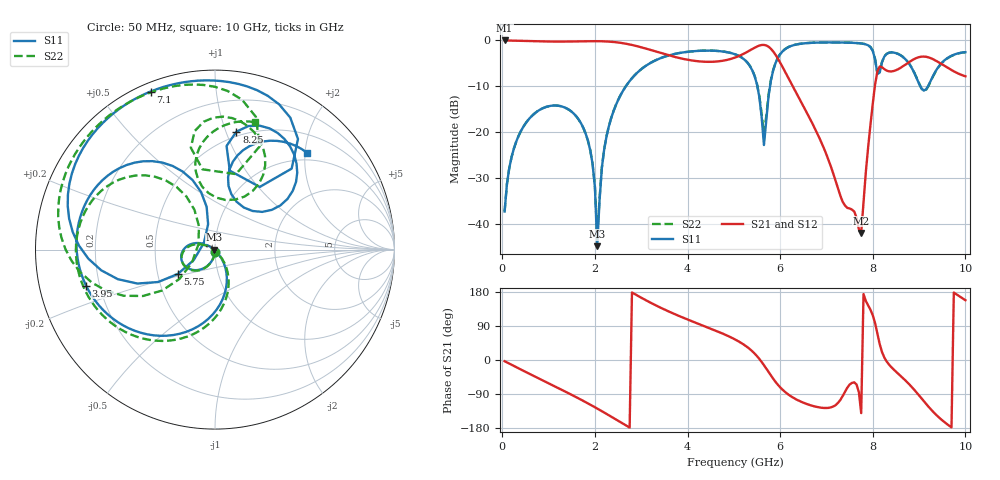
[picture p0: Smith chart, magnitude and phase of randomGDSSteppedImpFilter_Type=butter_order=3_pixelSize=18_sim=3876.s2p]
! freq	dB(S11)	phase(S11)	dB(S12)	phase(S12)
!  dB(S21)	phase(S21)	dB(S22)	phase(S22)
!S-par simulation data
#  GHz  S  DB  R 50
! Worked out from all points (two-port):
!   200 points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, 50 MHz to 10 GHz, reference 50 ohm
!   highest |S21| = -0.01 dB at 50 MHz (marker M1); lowest = -42.0 dB at 7.75 GHz (marker M2)
!   |S21| within 3 dB of the highest: start of sweep to 3.511 GHz; 5.194 GHz to 5.892 GHz (697.8 MHz wide, 12.6 % of centre)
!   lowest |S11| = -44.8 dB at 2.05 GHz (marker M3), VSWR 1.01, Z = 49.4 - j0.116 ohm
!   |S11| at or under -10 dB: start of sweep to 2.668 GHz; 5.507 GHz to 5.782 GHz (274.3 MHz wide, 4.86 % of centre); 9.028 GHz to 9.192 GHz (164 MHz wide, 1.8 % of centre)
!   |S22| runs from -42.7 to -0.4 dB; largest |S21 - S12| = 0
!   S11 on the Smith chart (normalised r, x): 50 MHz: 1.00, -0.03; 3.95 GHz: 0.15, -0.13; 5.75 GHz: 0.64, -0.18; 7.1 GHz: 0.04, +0.67; 8.25 GHz: 0.46, +1.09; 10 GHz: 0.85, +2.05
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0.05  -37.30 -92.8  -0.01 -3.2  -0.01 -3.2  -37.30 -92.7
0.6  -16.86 -128.2  -0.14 -37.3  -0.14 -37.3  -16.86 -127.2
1.75  -19.06 160.9  -0.19 -108.0  -0.19 -108.0  -19.07 164.7
1.95  -26.96 149.7  -0.16 -121.3  -0.16 -121.3  -26.96 155.6
2.05  -44.85 -168.1  -0.16 -128.1  -0.16 -128.1  -42.66 -153.5
2.15  -27.78 -52.0  -0.18 -135.1  -0.18 -135.1  -27.67 -51.8
2.35  -16.98 -63.5  -0.29 -149.3  -0.29 -149.3  -16.95 -60.6
3.4  -3.93 -134.6  -2.68 139.1  -2.68 139.1  -3.93 -128.8
3.95  -2.55 -164.4  -4.11 109.4  -4.11 109.4  -2.54 -157.2
5.05  -3.12 139.4  -3.64 52.7  -3.64 52.7  -3.10 150.1
5.45  -7.82 107.9  -1.58 16.8  -1.58 16.8  -7.75 121.5
5.65  -22.80 148.2  -0.97 -13.5  -0.97 -13.5  -20.28 162.7
5.75  -12.12 -146.7  -1.37 -31.7  -1.37 -31.7  -11.79 -140.4
6.1  -1.95 172.9  -6.70 -83.6  -6.70 -83.6  -1.92 -175.5
6.7  -0.51 131.4  -18.18 -121.0  -18.18 -121.0  -0.50 145.7
7.1  -0.44 112.2  -27.61 -124.8  -27.61 -124.8  -0.43 128.1
7.75  -0.66 78.7  -41.95 -140.1  -41.95 -140.1  -0.65 97.3
8.05  -4.13 46.6  -9.61 97.3  -9.61 97.3  -4.07 66.6
8.25  -3.50 79.7  -6.26 6.5  -6.26 6.5  -3.48 99.7
8.35  -2.69 70.1  -6.73 -11.9  -6.73 -11.9  -2.67 90.7
9.05  -10.44 45.7  -3.54 -101.0  -3.54 -101.0  -10.44 68.0
10  -2.57 46.4  -7.82 157.8  -7.82 157.8  -2.58 72.4
